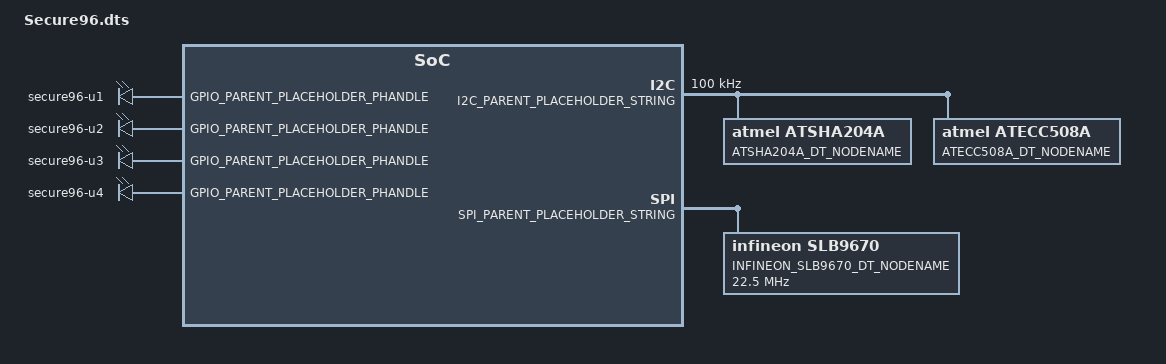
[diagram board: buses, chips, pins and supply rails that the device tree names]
/** @file
 * Copyright (c) 2018, Linaro Limited. All rights reserved.
 *
 * SPDX-License-Identifier: BSD-2-Clause-Patent
 */

#include "Secure96.h"

//
// Define a placeholder value for the GPIO phandle property cells appearing
// in this file. It is up to the driver code to discover the actual phandle
// value from the platform device tree and patch the overlay DTB before it
// can be applied.
//
#define GPIO_PARENT_PLACEHOLDER_PHANDLE     0x0

/dts-v1/;

/ {
    fragment@0 {
        target-path = "I2C_PARENT_PLACEHOLDER_STRING";
        __overlay__ {
            clock-frequency = <100000>;

            ATSHA204A_DT_NODENAME {
                compatible = "atmel,atsha204a";
                reg = <ATSHA204A_SLAVE_ADDRESS>;
            };

            ATECC508A_DT_NODENAME {
                compatible = "atmel,atecc508a";
                reg = <ATECC508A_SLAVE_ADDRESS>;
            };
        };
    };

    fragment@1 {
        target-path = "SPI_PARENT_PLACEHOLDER_STRING";
        __overlay__ {
            INFINEON_SLB9670_DT_NODENAME {
                compatible = "infineon,slb9670";
                reg = <SECURE96_SPI0_CS>;
                spi-max-frequency = <22500000>;
            };
        };
    };

    fragment@2 {
        target-path = "/";
        __overlay__ {
            gpio-leds {
                compatible = "gpio-leds";

                secure96-u1 {
                    gpios = <GPIO_PARENT_PLACEHOLDER_PHANDLE
                             FixedPcdGet32 (PcdGpioPinG)
                             FixedPcdGet32 (PcdGpioPolarity)>;
                };
                secure96-u2 {
                    gpios = <GPIO_PARENT_PLACEHOLDER_PHANDLE
                             FixedPcdGet32 (PcdGpioPinF)
                             FixedPcdGet32 (PcdGpioPolarity)>;
                };
                secure96-u3 {
                    gpios = <GPIO_PARENT_PLACEHOLDER_PHANDLE
                             FixedPcdGet32 (PcdGpioPinI)
                             FixedPcdGet32 (PcdGpioPolarity)>;
                };
                secure96-u4 {
                    gpios = <GPIO_PARENT_PLACEHOLDER_PHANDLE
                             FixedPcdGet32 (PcdGpioPinH)
                             FixedPcdGet32 (PcdGpioPolarity)>;
                };
            };
        };
    };
};
